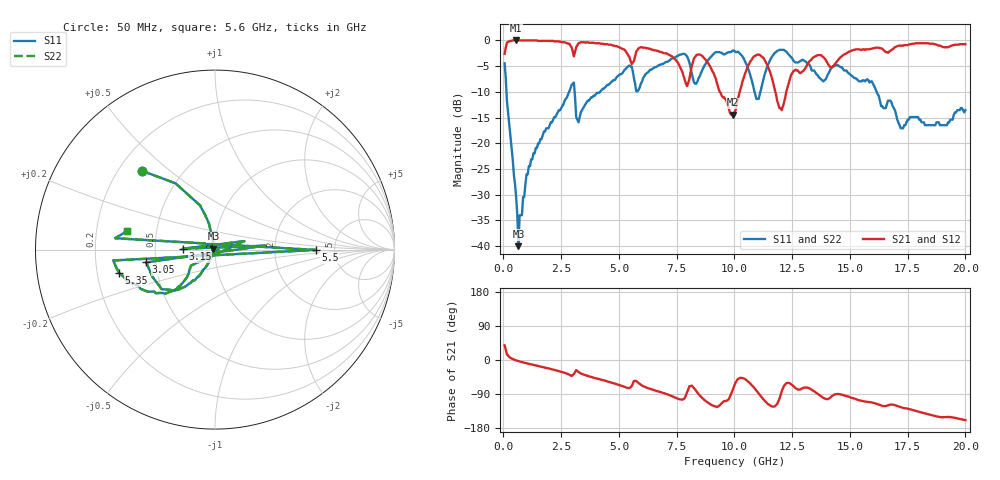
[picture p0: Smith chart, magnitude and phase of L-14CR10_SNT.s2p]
# MHZ S MA R 50
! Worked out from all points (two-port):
!   400 points, 50 MHz to 20 GHz, reference 50 ohm
!   highest |S21| = 0.00 dB at 550 MHz (marker M1); lowest = -14.4 dB at 9.95 GHz (marker M2)
!   |S21| within 3 dB of the highest: start of sweep to 3.045 GHz; 14.67 GHz to end of sweep (the widest 2 of 7)
!   lowest |S11| = -40.0 dB at 650 MHz (marker M3), VSWR 1.02, Z = 49.1 + j0.506 ohm
!   |S11| at or under -10 dB: 130.5 MHz to 2.841 GHz (2.71 GHz wide, 182 % of centre); 3.082 GHz to 4.181 GHz (1.1 GHz wide, 30.3 % of centre); 16.16 GHz to end of sweep (the widest 3 of 4)
!   |S22| runs from -40.0 to -1.8 dB; largest |S21 - S12| = 0
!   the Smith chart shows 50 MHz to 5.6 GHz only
!   S11 on the Smith chart (normalised r, x): 50 MHz: 0.29, +0.40; 3.05 GHz: 0.44, -0.07; 3.15 GHz: 0.69, +0.01; 5.35 GHz: 0.29, -0.11; 5.5 GHz: 3.55, -0.02; 5.6 GHz: 0.34, +0.09
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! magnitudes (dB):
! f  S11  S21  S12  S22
! 50 MHz  -4.4  -2.6  -2.6  -4.4
! 550 MHz  -30.5  0.0  0.0  -30.5
! 650 MHz  -40.0  0.0  0.0  -40.0
! 700 MHz  -34.0  0.0  0.0  -34.0
! 1.2 GHz  -23.1  0.0  0.0  -23.1
! 3.05 GHz  -8.2  -3.1  -3.1  -8.2
! 3.15 GHz  -14.9  -1.3  -1.3  -14.9
! 3.4 GHz  -13.6  -0.4  -0.4  -13.6
! 5.35 GHz  -5.2  -2.5  -2.5  -5.2
! 5.5 GHz  -5.0  -3.9  -3.9  -5.0
! 5.6 GHz  -6.0  -4.3  -4.3  -6.0
! 6.7 GHz  -4.9  -2.0  -2.0  -4.9
! 7.95 GHz  -3.1  -8.9  -8.9  -3.1
! 8.6 GHz  -5.8  -3.0  -3.0  -5.8
! 9.95 GHz  -1.9  -14.4  -14.4  -1.9
! 10.05 GHz  -2.3  -13.6  -13.6  -2.3
! 10.95 GHz  -11.4  -2.9  -2.9  -11.4
! 12.05 GHz  -1.8  -13.6  -13.6  -1.8
! 13.35 GHz  -5.8  -3.6  -3.6  -5.8
! 16.7 GHz  -11.7  -2.2  -2.2  -11.7
! 17.2 GHz  -17.1  -1.0  -1.0  -17.1
! 20 GHz  -13.6  -0.7  -0.7  -13.6
